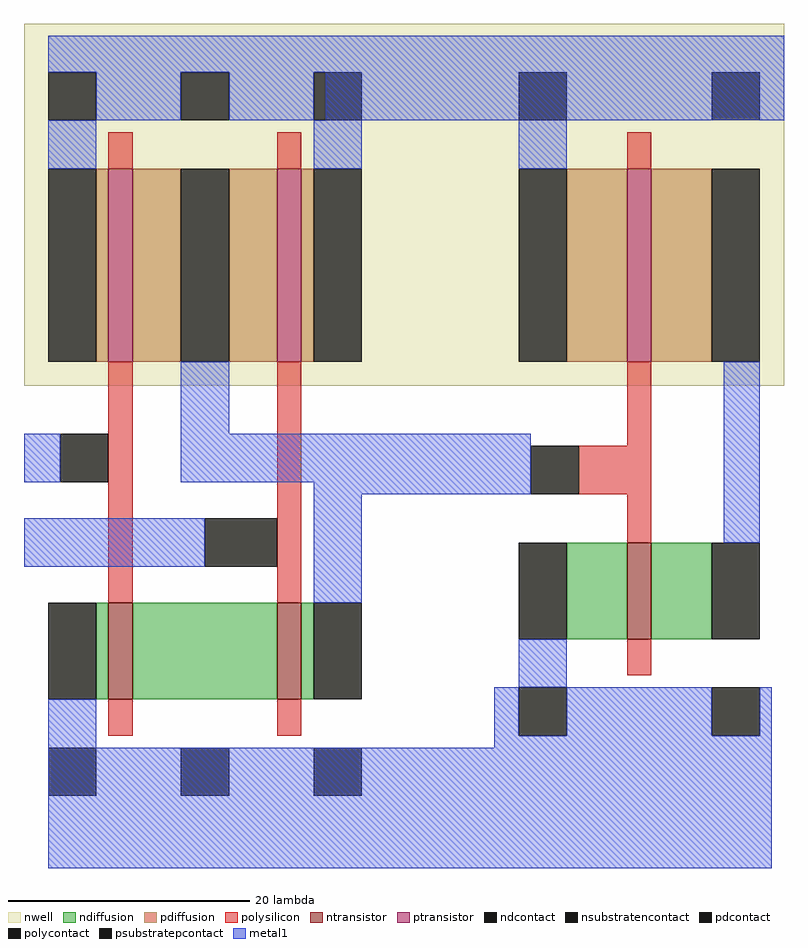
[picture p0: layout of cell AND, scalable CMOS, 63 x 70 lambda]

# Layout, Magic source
magic
tech scmos
<< nwell >>
rect 29 69 64 70
rect 26 62 64 69
rect 29 40 64 62
<< metal1 >>
rect 26 62 64 69
rect 28 34 43 36
rect 28 31 41 34
rect 3 0 63 10
use NAND  NAND_0
transform 1 0 9 0 1 36
box -8 -34 21 34
use Inverter  Inverter_0
transform 1 0 44 0 1 37
box -4 -31 20 31
<< end >>

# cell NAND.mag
magic
tech scmos
<< nwell >>
rect -8 4 21 34
<< polysilicon >>
rect -1 22 1 25
rect 13 22 15 25
rect -1 -14 1 6
rect 13 -14 15 6
rect -1 -25 1 -22
rect 13 -25 15 -22
<< ndiffusion >>
rect -2 -22 -1 -14
rect 1 -22 13 -14
rect 15 -22 16 -14
<< pdiffusion >>
rect -2 6 -1 22
rect 1 6 5 22
rect 9 6 13 22
rect 15 6 16 22
<< metal1 >>
rect -6 30 20 33
rect -2 26 5 30
rect 9 26 16 30
rect -6 22 -2 26
rect 16 22 20 26
rect 5 0 9 6
rect -8 -4 -5 0
rect 5 -4 21 0
rect -8 -11 7 -7
rect 16 -14 20 -4
rect -6 -26 -2 -22
rect -2 -30 5 -26
rect 9 -30 16 -26
rect -6 -34 20 -30
<< ntransistor >>
rect -1 -22 1 -14
rect 13 -22 15 -14
<< ptransistor >>
rect -1 6 1 22
rect 13 6 15 22
<< polycontact >>
rect -5 -4 -1 0
rect 7 -11 13 -7
<< ndcontact >>
rect -6 -22 -2 -14
rect 16 -22 20 -14
<< pdcontact >>
rect -6 6 -2 22
rect 5 6 9 22
rect 16 6 20 22
<< psubstratepcontact >>
rect -6 -30 -2 -26
rect 5 -30 9 -26
rect 16 -30 20 -26
<< nsubstratencontact >>
rect -6 26 -2 30
rect 5 26 9 30
rect 16 26 20 30
<< labels >>
rlabel metal1 20 -4 20 0 7 NAND_AB
rlabel pdcontact 7 8 7 8 1 NAND_AB
rlabel ndiffusion 6 -17 6 -17 1 DS
rlabel nsubstratencontact 18 27 18 27 7 vdd!
rlabel polycontact 11 -10 11 -10 1 IN_B
rlabel metal1 18 -12 18 -12 7 NAND_AB
rlabel metal1 -8 -4 -8 0 3 IN_A
rlabel metal1 -8 -11 -8 -7 3 IN_B
rlabel psubstratepcontact -6 -30 -2 -26 2 gnd!
rlabel ndcontact -4 -18 -4 -18 3 gnd!
rlabel nsubstratencontact -6 26 -2 30 3 vdd!
<< end >>

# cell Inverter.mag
magic
tech scmos
<< nwell >>
rect -4 3 20 31
<< polysilicon >>
rect 7 21 9 24
rect 7 -2 9 5
rect 3 -6 9 -2
rect 7 -10 9 -6
rect 7 -21 9 -18
<< ndiffusion >>
rect 2 -18 7 -10
rect 9 -18 14 -10
<< pdiffusion >>
rect 2 5 7 21
rect 9 5 14 21
<< metal1 >>
rect -4 29 20 31
rect -4 25 -2 29
rect 2 25 14 29
rect 18 25 20 29
rect -2 21 2 25
rect -4 -6 -1 -2
rect 15 -10 18 5
rect -2 -22 2 -18
rect -4 -26 -2 -22
rect 2 -26 14 -22
rect 18 -26 19 -22
rect -4 -31 19 -26
<< ntransistor >>
rect 7 -18 9 -10
<< ptransistor >>
rect 7 5 9 21
<< polycontact >>
rect -1 -6 3 -2
<< ndcontact >>
rect -2 -18 2 -10
rect 14 -18 18 -10
<< pdcontact >>
rect -2 5 2 21
rect 14 5 18 21
<< psubstratepcontact >>
rect -2 -26 2 -22
rect 14 -26 18 -22
<< nsubstratencontact >>
rect -2 25 2 29
rect 14 25 18 29
<< labels >>
rlabel metal1 -3 -6 -3 -2 3 IN
rlabel nsubstratencontact -2 25 2 29 4 vdd!
rlabel psubstratepcontact -2 -26 2 -22 2 gnd!
rlabel metal1 17 -6 17 -2 7 OUT
<< end >>
